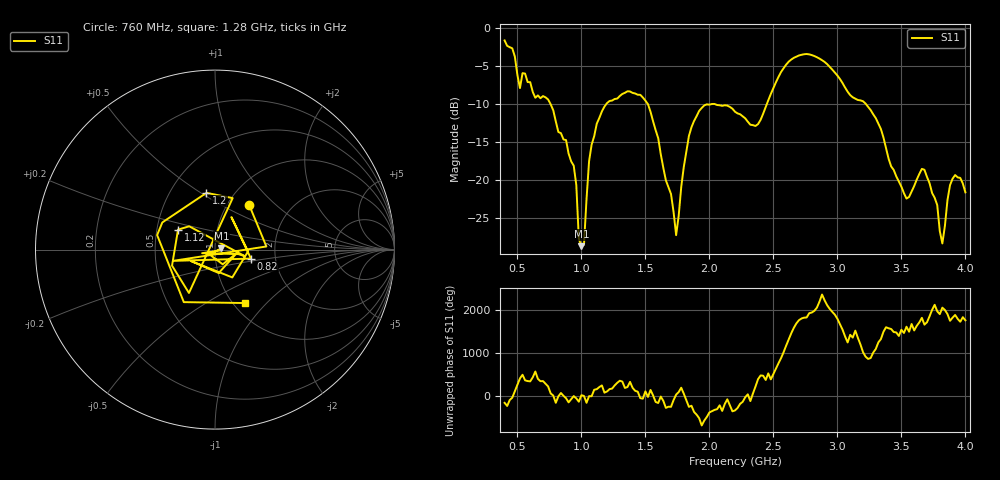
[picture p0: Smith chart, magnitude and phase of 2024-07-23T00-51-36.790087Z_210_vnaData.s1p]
!Created with skrf (http://scikit-rf.org).
# Hz S RI R 50.0
!freq ReS11 ImS11
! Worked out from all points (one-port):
!   181 points, 400 MHz to 4 GHz, reference 50 ohm
!   lowest |S11| = -28.7 dB at 1 GHz (marker M1), VSWR 1.08, Z = 53.7 + j0.788 ohm
!   |S11| at or under -10 dB: 758.1 MHz to 1.196 GHz (437.7 MHz wide, 44.8 % of centre); 1.518 GHz to 2.449 GHz (931.3 MHz wide, 46.9 % of centre); 3.221 GHz to end of sweep
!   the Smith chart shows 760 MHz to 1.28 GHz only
!   S11 on the Smith chart (normalised r, x): 760 MHz: 1.25, +0.70; 820 MHz: 1.49, -0.16; 1.12 GHz: 0.64, +0.15; 1.2 GHz: 0.75, +0.53; 1.28 GHz: 1.13, -0.76
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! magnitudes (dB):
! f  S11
! 400 MHz  -1.7
! 520 MHz  -7.9
! 760 MHz  -10.1
! 820 MHz  -13.7
! 860 MHz  -14.7
! 940 MHz  -18.1
! 1 GHz  -28.7
! 1.02 GHz  -28.6
! 1.06 GHz  -17.5
! 1.12 GHz  -12.6
! 1.2 GHz  -9.9
! 1.28 GHz  -9.3
! 1.3 GHz  -9.0
! 1.52 GHz  -10.0
! 1.74 GHz  -27.3
! 1.76 GHz  -24.7
! 1.84 GHz  -14.2
! 1.92 GHz  -10.9
! 2.2 GHz  -11.0
! 2.38 GHz  -12.7
! 2.66 GHz  -3.9
! 3.1 GHz  -8.8
! 3.3 GHz  -11.9
! 3.56 GHz  -22.3
! 3.68 GHz  -18.7
! 3.82 GHz  -28.4
! 3.9 GHz  -19.9
! 4 GHz  -21.7
